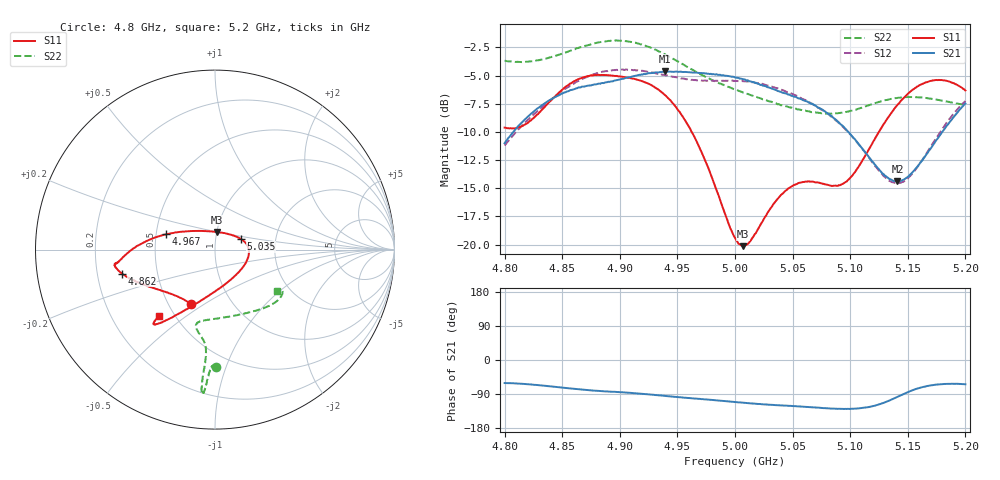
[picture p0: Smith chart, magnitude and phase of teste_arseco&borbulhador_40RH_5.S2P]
! Network Analyzer HP8722D
! Hewlett-Packard
! Data name: Linha & Wilkinson
! Saver's name: Rodrigo Anjos
! Comments: Teste da utilização de aquisição
! continua pelo VNA HP8722D
! Time and date: 15/4/2025 16:23
!  Frequency  S11  S21  S12  S22
# HZ  S  MA R 50
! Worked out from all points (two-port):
!   401 points, 4.8 GHz to 5.2 GHz, reference 50 ohm
!   highest |S21| = -4.64 dB at 4.939 GHz (marker M1); lowest = -14.4 dB at 5.141 GHz (marker M2)
!   |S21| within 3 dB of the highest: 4.832 GHz to 5.069 GHz (236.8 MHz wide, 4.78 % of centre); 5.198482 GHz to end of sweep
!   lowest |S11| = -20.1 dB at 5.007 GHz (marker M3), VSWR 1.22, Z = 50.2 + j9.9 ohm
!   |S11| at or under -10 dB: 4.962 GHz to 5.125 GHz (162.5 MHz wide, 3.22 % of centre)
!   |S22| runs from -8.4 to -1.9 dB; largest |S21 - S12| = 0.88
!   S11 on the Smith chart (normalised r, x): 4.8 GHz: 0.65, -0.44; 4.862 GHz: 0.31, -0.12; 4.967 GHz: 0.57, +0.10; 5.035 GHz: 1.32, +0.16; 5.2 GHz: 0.41, -0.40
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4.8e9  0.3305 -113.7  0.2817 -60.8  0.275 -175.0  0.6536 -89.4
4.819e9  0.3442 -133.5  0.3644 -63.7  0.3524 -173.3  0.6479 -91.1
4.862e9  0.5364 -165.5  0.4933 -76.7  0.5267 -176.4  0.7413 -93.5
4.867e9  0.5493 -167.5  0.5022 -78.2  0.5413 -177.4  0.7531 -93.7
4.899e9  0.5577 -172.1  0.5381 -84.9  0.5967 175.9  0.8031 -95.0
4.934e9  0.4853 -177.9  0.5813 -93.4  0.5748 172.0  0.7189 -95.5
4.939e9  0.4617 180.0  0.5863 -94.6  0.5663 172.0  0.7004 -95.5
4.953e9  0.3799 172.5  0.5855 -98.4  0.5461 172.6  0.6388 -95.0
4.967e9  0.2847 162.6  0.5793 -102.1  0.5354 174.0  0.5809 -94.9
5e9  0.1072 107.4  0.5521 -111.0  0.5327 176.4  0.4886 -99.3
5.007e9  0.09834 83.4  0.5419 -112.6  0.5308 176.3  0.4728 -100.9
5.014e9  0.1049 61.3  0.5289 -114.6  0.5266 176.2  0.46 -102.5
5.035e9  0.155 22.9  0.4852 -119.0  0.4964 175.2  0.4237 -103.8
5.05e9  0.1821 7.1  0.4565 -121.6  0.4657 174.5  0.4038 -100.3
5.067e9  0.1904 -11.3  0.4211 -124.8  0.4216 174.0  0.3873 -91.9
5.087e9  0.1825 -43.8  0.3602 -128.6  0.3576 173.7  0.3817 -77.0
5.097e9  0.1905 -64.9  0.3215 -129.1  0.3204 174.5  0.3883 -68.6
5.134e9  0.3728 -116.1  0.1955 -107.0  0.1916 -159.8  0.4412 -43.3
5.141e9  0.4167 -120.0  0.1906 -97.2  0.1871 -148.9  0.4477 -40.2
5.153e9  0.481 -124.9  0.2066 -81.2  0.204 -130.2  0.4515 -35.9
5.171e9  0.5336 -128.8  0.2723 -66.7  0.277 -112.3  0.4431 -31.8
5.2e9  0.483 -130.3  0.4225 -64.0  0.4336 -106.0  0.4153 -33.4
